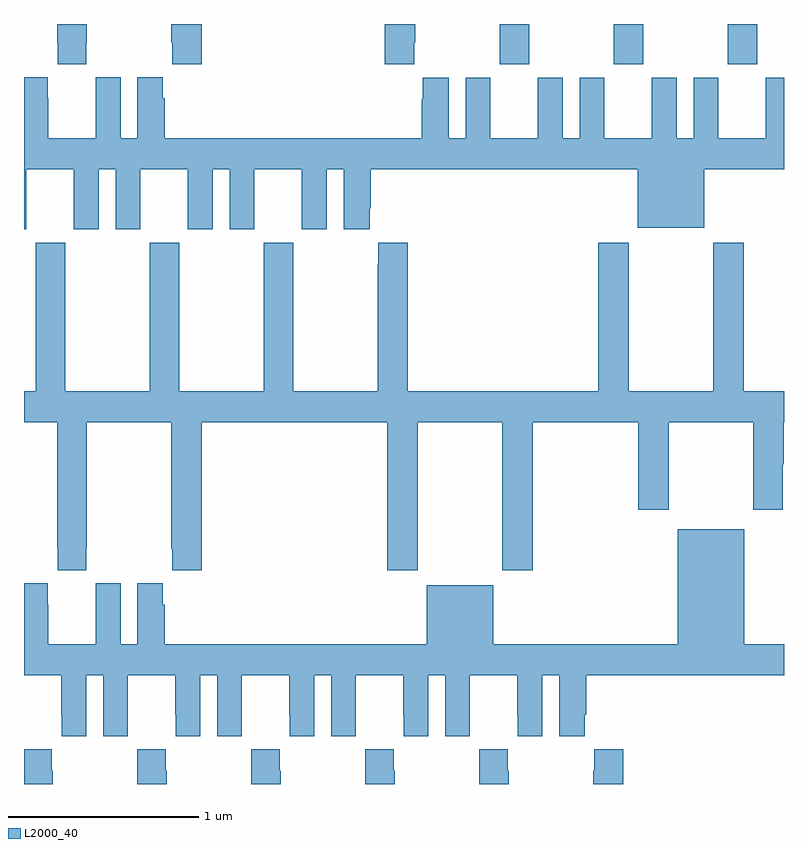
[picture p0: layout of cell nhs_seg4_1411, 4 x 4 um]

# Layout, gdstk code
import gdstk
lib = gdstk.Library(unit=1e-6, precision=1e-09)
def R(c, l, rs):  # rectangles x0, y0, x1, y1
    for r in rs: c.add(gdstk.rectangle(r[:2], r[2:], *l))
def A(c, l, x, y, w, h, nx, ny, dx, dy):  # array of equal rectangles
    R(c, l, [(x+i*dx, y+j*dy, x+i*dx+w, y+j*dy+h) for i in range(nx) for j in range(ny)])
def P(c, l, *ps):  # polygons
    for p in ps: c.add(gdstk.Polygon(p, *l))
L2000_40 = (2000, 40)

nhs_seg4_1411 = lib.new_cell('nhs_seg4_1411')
A(nhs_seg4_1411, L2000_40, 185.503, 814.689, 0.155, 0.211, 3, 1, 0.6, 0)
P(nhs_seg4_1411, L2000_40, [(185.053,814.801),(185.058,814.801),(185.058,814.9),(184.898,814.9),(184.898,814.689),(185.053,814.689)],
  [(183.935,814.9),(183.775,814.9),(183.775,814.801),(183.781,814.801),(183.781,814.689),(183.935,814.689)],
  [(183.327,814.801),(183.33,814.801),(183.33,814.9),(183.175,814.9),(183.175,814.801),(183.177,814.801),(183.177,814.689),(183.327,814.689)],
  [(183.013,814.136),(183.263,814.136),(183.263,813.819),(183.394,813.819),(183.394,814.136),(183.482,814.136),(183.482,813.819),(183.613,813.819),(183.613,814.136),(183.863,814.136),(183.863,813.819),(183.994,813.819),(183.994,814.136),(184.082,814.136),(184.082,813.819),(184.213,813.819),(184.213,814.136),(184.463,814.136),(184.463,813.819),(184.594,813.819),(184.594,814.136),(184.682,814.136),(184.682,813.819),(184.819,813.819),(184.819,813.931),(184.826,813.931),(184.826,814.136),(186.23,814.136),(186.23,813.827),(186.58,813.827),(186.58,814.136),(187,814.136),(187,814.618),(186.905,814.618),(186.905,814.3),(186.655,814.3),(186.655,814.618),(186.524,814.618),(186.524,814.3),(186.436,814.3),(186.436,814.618),(186.305,814.618),(186.305,814.3),(186.055,814.3),(186.055,814.618),(185.924,814.618),(185.924,814.3),(185.836,814.3),(185.836,814.618),(185.705,814.618),(185.705,814.3),(185.455,814.3),(185.455,814.618),(185.324,814.618),(185.324,814.3),(185.236,814.3),(185.236,814.618),(185.099,814.618),(185.099,814.505),(185.093,814.505),(185.093,814.3),(183.74,814.3),(183.74,814.508),(183.73,814.508),(183.73,814.621),(183.596,814.621),(183.596,814.3),(183.508,814.3),(183.508,814.621),(183.378,814.621),(183.378,814.508),(183.377,814.508),(183.377,814.3),(183.127,814.3),(183.127,814.508),(183.126,814.508),(183.126,814.621),(183,814.621),(183,813.819),(183.013,813.819)],
  [(183.327,812.137),(183.33,812.137),(183.33,812.804),(183.775,812.804),(183.775,812.137),(183.781,812.137),(183.781,812.025),(183.935,812.025),(183.935,812.804),(184.913,812.804),(184.913,812.025),(185.073,812.025),(185.073,812.804),(185.518,812.804),(185.518,812.025),(185.678,812.025),(185.678,812.804),(186.233,812.804),(186.233,812.343),(186.393,812.343),(186.393,812.804),(186.838,812.804),(186.838,812.343),(186.993,812.343),(186.993,812.582),(186.998,812.582),(186.998,812.804),(187,812.804),(187,812.968),(186.788,812.968),(186.788,813.748),(186.628,813.748),(186.628,812.968),(186.183,812.968),(186.183,813.748),(186.023,813.748),(186.023,812.968),(185.021,812.968),(185.021,813.748),(184.865,813.748),(184.865,813.635),(184.861,813.635),(184.861,812.968),(184.416,812.968),(184.416,813.748),(184.261,813.748),(184.261,812.968),(183.816,812.968),(183.816,813.748),(183.661,813.748),(183.661,812.968),(183.216,812.968),(183.216,813.748),(183.061,813.748),(183.061,812.968),(183,812.968),(183,812.804),(183.175,812.804),(183.175,812.137),(183.177,812.137),(183.177,812.025),(183.327,812.025)],
  [(183.797,811.264),(183.798,811.264),(183.798,811.152),(183.928,811.152),(183.928,811.472),(184.016,811.472),(184.016,811.152),(184.146,811.152),(184.146,811.264),(184.147,811.264),(184.147,811.472),(184.397,811.472),(184.397,811.264),(184.398,811.264),(184.398,811.152),(184.528,811.152),(184.528,811.472),(184.616,811.472),(184.616,811.152),(184.746,811.152),(184.746,811.264),(184.747,811.264),(184.747,811.472),(184.997,811.472),(184.997,811.264),(184.998,811.264),(184.998,811.152),(185.128,811.152),(185.128,811.472),(185.216,811.472),(185.216,811.152),(185.346,811.152),(185.346,811.264),(185.347,811.264),(185.347,811.472),(185.597,811.472),(185.597,811.264),(185.598,811.264),(185.598,811.152),(185.728,811.152),(185.728,811.472),(185.816,811.472),(185.816,811.152),(185.95,811.152),(185.95,811.264),(185.96,811.264),(185.96,811.472),(187,811.472),(187,811.636),(186.79,811.636),(186.79,812.242),(186.44,812.242),(186.44,811.636),(185.47,811.636),(185.47,811.945),(185.12,811.945),(185.12,811.636),(183.74,811.636),(183.74,811.844),(183.73,811.844),(183.73,811.957),(183.596,811.957),(183.596,811.636),(183.508,811.636),(183.508,811.957),(183.378,811.957),(183.378,811.844),(183.377,811.844),(183.377,811.636),(183.127,811.636),(183.127,811.844),(183.126,811.844),(183.126,811.957),(183,811.957),(183,811.472),(183.197,811.472),(183.197,811.264),(183.198,811.264),(183.198,811.152),(183.328,811.152),(183.328,811.472),(183.416,811.472),(183.416,811.152),(183.546,811.152),(183.546,811.264),(183.547,811.264),(183.547,811.472),(183.797,811.472)],
  [(183.75,810.971),(183.747,810.971),(183.747,811.084),(183.597,811.084),(183.597,810.971),(183.595,810.971),(183.595,810.9),(183.75,810.9)],
  [(183.15,810.971),(183.147,810.971),(183.147,811.084),(183,811.084),(183,810.9),(183.15,810.9)],
  [(186.155,811.084),(186.001,811.084),(186.001,810.971),(185.995,810.971),(185.995,810.9),(186.155,810.9)],
  [(185.55,810.971),(185.547,810.971),(185.547,811.084),(185.397,811.084),(185.397,810.971),(185.395,810.971),(185.395,810.9),(185.55,810.9)],
  [(184.95,810.971),(184.947,810.971),(184.947,811.084),(184.797,811.084),(184.797,810.971),(184.795,810.971),(184.795,810.9),(184.95,810.9)],
  [(184.35,810.971),(184.347,810.971),(184.347,811.084),(184.197,811.084),(184.197,810.971),(184.195,810.971),(184.195,810.9),(184.35,810.9)])

lib.write_gds('nhs_seg4_1411.gds')
